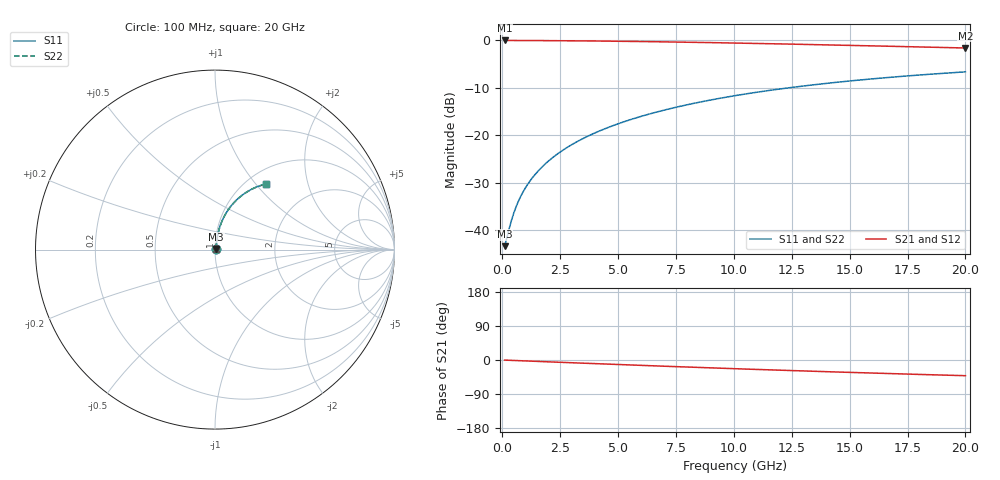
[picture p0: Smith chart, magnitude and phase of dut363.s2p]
! Touchstone file exported from HFSS 2024.1.0
!  File:  C:/UserFiles/LocalFiles/RDL_TSV_Batchsim/temp_RDL_top_363_1779608675.aedt
!  Generated:  03:46:57 PM May 24, 2026
!  Design:  RDL_top
!  Project:  temp_RDL_top_363_1779608675
!  Setup:  Setup1
!  Solution:  Sweep
! Variables:
!  dtsv = 10.80580581um
!  hbump = 3um
!  htsv = 72.76um
!  ldown = 100um
!  lrdl = 504.17um
!  p = 40
!  p1 = 52.97um
!  rhole = 1um
!  t = 450um
!  tdown = 3.915915916um
!  trdl = 2.02um
!  wdown = 15.38538539um
!  wrdl = 14.76um
# GHz S MA R 50.000000
! Terminal data exported
! Port[1] = Box2_T1
! Port[2] = Box2_T2
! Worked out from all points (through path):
!   200 points, 100 MHz to 20 GHz, reference 50 ohm
!   highest |S21| = -0.05 dB at 100 MHz (marker M1); lowest = -1.6 dB at 20 GHz (marker M2)
!   group delay of S21, straight-line fit = 5.76 ps
!   lowest |S11| = -43.4 dB at 100 MHz (marker M3), VSWR 1.01, Z = 50.6 + j0.28 ohm
!   |S11| at or under -10 dB: start of sweep to 12.42 GHz
!   |S22| runs from -43.4 to -6.7 dB; largest |S21 - S12| = 3.1e-15
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0.1  0.006774 24.1  0.9938 -0.3  0.9938 -0.3  0.006774 24.1
! Gamma 0 0 0 0
! Port Impedance 50 0 50 0
0.4  0.01276 59.3  0.9935 -1.0  0.9935 -1.0  0.01276 59.3
0.5  0.01521 63.9  0.9933 -1.3  0.9933 -1.3  0.01521 63.9
0.6  0.01772 67.1  0.9931 -1.5  0.9931 -1.5  0.01772 67.1
0.7  0.02025 69.4  0.9929 -1.7  0.9929 -1.7  0.02025 69.4
0.9  0.02534 72.6  0.9925 -2.2  0.9925 -2.2  0.02534 72.6
1.2  0.033 75.4  0.9918 -3.0  0.9918 -3.0  0.033 75.4
1.4  0.03812 76.6  0.9913 -3.4  0.9913 -3.4  0.03812 76.6
1.7  0.04581 77.8  0.9905 -4.2  0.9905 -4.2  0.04581 77.8
2.2  0.0587 78.9  0.9889 -5.4  0.9889 -5.4  0.05869 78.9
2.8  0.07425 79.3  0.9867 -6.8  0.9867 -6.8  0.07424 79.3
3.5  0.09249 79.2  0.9836 -8.4  0.9836 -8.4  0.09248 79.2
4.2  0.1108 78.7  0.98 -10.1  0.98 -10.1  0.1108 78.7
5  0.1317 77.9  0.9752 -11.9  0.9752 -11.9  0.1317 77.9
5.9  0.1552 76.7  0.9691 -14.0  0.9691 -14.0  0.1552 76.7
6.8  0.1786 75.3  0.9623 -16.0  0.9623 -16.0  0.1786 75.3
8.4  0.2196 72.7  0.9489 -19.5  0.9489 -19.5  0.2195 72.6
10.1  0.2618 69.6  0.9331 -23.1  0.9331 -23.1  0.2616 69.5
11.7  0.2998 66.7  0.9172 -26.3  0.9172 -26.3  0.2996 66.6
13.4  0.3381 63.5  0.8994 -29.7  0.8994 -29.7  0.3378 63.5
16.7  0.4057 57.7  0.8637 -35.8  0.8637 -35.8  0.4053 57.6
20  0.4641 52.1  0.8278 -41.4  0.8278 -41.4  0.4636 52.1
